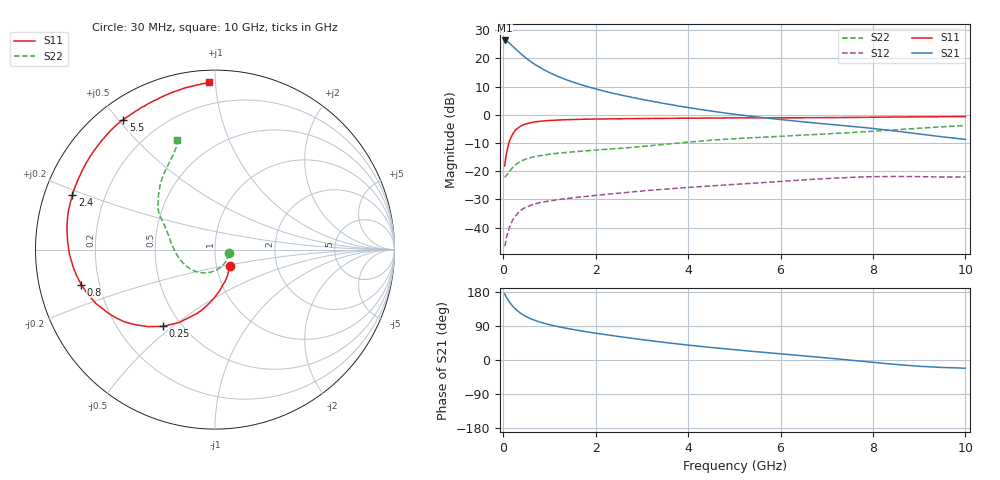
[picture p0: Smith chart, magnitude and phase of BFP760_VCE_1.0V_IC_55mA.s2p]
! Infineon Technologies  Discrete & RF Semiconductors
! BFP760
! VCE =  1.0 V,  IC =  55 mA
! Common Emitter S-Parameters:  Nov 2012
# GHz  S  MA  R  50
!  f  S11  S21  S12  S22
! GHz  MAG  ANG  MAG  ANG  MAG  ANG  MAG  ANG
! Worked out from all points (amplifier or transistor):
!   99 points, 30 MHz to 10 GHz, reference 50 ohm
!   highest |S21| = 26.4 dB at 30 MHz (marker M1)
!   |S21| within 3 dB of that: start of sweep to 267.1 MHz
!   unconditionally stable (mu >= 1): start of sweep to end of sweep
!   at 350 MHz: K = 1.31, MAG = 24.8 dB, |S12| = -34.2 dB
!   at 3.5 GHz: K = 1.71, MAG = 10.3 dB, |S12| = -26.3 dB
!   at 10 GHz: K = 1.81, MAG = 1.5 dB, |S12| = -22.0 dB
!   S11 on the Smith chart (normalised r, x): 30 MHz: 1.16, -0.22; 250 MHz: 0.40, -0.46; 800 MHz: 0.13, -0.13; 2.4 GHz: 0.08, +0.18; 5.5 GHz: 0.08, +0.52; 10 GHz: 0.07, +0.96
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0.03  0.124 -48.0  20.87 174.5  0.0047 28.4  0.078 -15.3
0.05  0.1635 -65.2  20.83 169.6  0.0053 34.2  0.08 -27.3
0.07  0.2057 -78.5  20.22 165.3  0.0069 40.1  0.0848 -38.4
0.12  0.3107 -97.6  19.07 155.7  0.0091 51.7  0.0955 -61.0
0.15  0.368 -105.5  18.17 150.6  0.0107 51.7  0.1036 -72.2
0.2  0.4501 -115.9  16.68 142.8  0.0135 51.9  0.1154 -87.5
0.25  0.516 -124.0  15.21 136.3  0.0156 48.9  0.1269 -99.7
0.35  0.6104 -136.7  12.84 125.6  0.0195 45.8  0.1454 -117.2
0.4  0.6452 -141.4  11.74 121.4  0.0208 44.2  0.1535 -123.7
0.5  0.6934 -149.5  10.06 114.3  0.0232 41.4  0.1658 -134.4
0.6  0.7287 -155.7  8.731 108.7  0.025 39.2  0.1753 -142.5
0.8  0.7705 -165.3  6.9 99.9  0.0279 36.2  0.1894 -154.5
1  0.7947 -172.4  5.624 93.3  0.0298 34.4  0.2004 -162.8
1.2  0.8108 -178.1  4.745 87.8  0.0315 33.7  0.2094 -169.0
1.7  0.8354 170.7  3.397 76.6  0.0353 33.4  0.2269 179.9
2.4  0.8508 159.0  2.393 63.8  0.04 33.6  0.2512 169.9
3.4  0.8659 144.7  1.638 47.7  0.0475 33.2  0.2952 157.5
5.1  0.8855 128.0  1.003 26.2  0.0592 30.6  0.3821 145.6
5.5  0.8864 125.2  0.916 21.7  0.062 29.9  0.3972 143.1
6.7  0.8918 117.0  0.725 8.8  0.072 25.8  0.4471 134.4
8.5  0.9165 100.4  0.516 -11.8  0.081 14.1  0.5441 118.2
10  0.933 92.2  0.368 -21.6  0.079 9.3  0.6477 109.0
